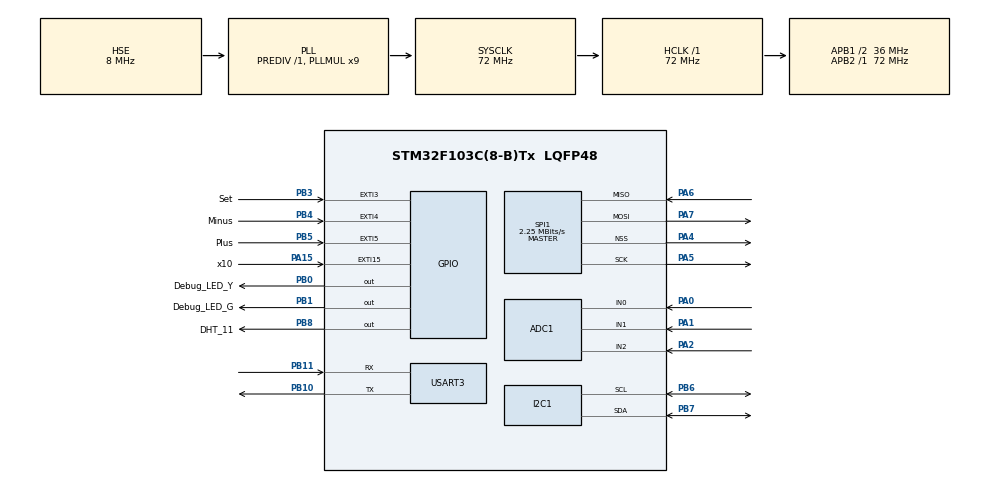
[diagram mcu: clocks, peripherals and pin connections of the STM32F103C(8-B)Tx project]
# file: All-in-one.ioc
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ADC1.Channel-0\#ChannelRegularConversion=ADC_CHANNEL_0
ADC1.ContinuousConvMode=ENABLE
ADC1.NbrOfConversionFlag=1
ADC1.Rank-0\#ChannelRegularConversion=1
ADC1.SamplingTime-0\#ChannelRegularConversion=ADC_SAMPLETIME_1CYCLE_5
ADC1.master=1
IWDG.Prescaler=IWDG_PRESCALER_128
IWDG.Reload=400
Mcu.Family=STM32F1
Mcu.Name=STM32F103C(8-B)Tx
Mcu.Package=LQFP48
NVIC.EXTI15_10_IRQn=true\:3\:0\:true\:false\:true\:true\:true
NVIC.EXTI3_IRQn=true\:3\:0\:true\:false\:true\:true\:true
NVIC.EXTI4_IRQn=true\:3\:0\:true\:false\:true\:true\:true
NVIC.EXTI9_5_IRQn=true\:3\:0\:true\:false\:true\:true\:true
NVIC.PriorityGroup=NVIC_PRIORITYGROUP_4
PA0-WKUP.Signal=ADCx_IN0
PA1.Signal=ADCx_IN1
PA13.Mode=Serial_Wire
PA13.Signal=SYS_JTMS-SWDIO
PA14.Mode=Serial_Wire
PA14.Signal=SYS_JTCK-SWCLK
PA15.GPIO_Label=x10
PA15.GPIO_ModeDefaultEXTI=GPIO_MODE_IT_RISING_FALLING
PA15.Signal=GPXTI15
PA2.Signal=ADCx_IN2
PA4.Mode=NSS_Signal_Hard_Output
PA4.Signal=SPI1_NSS
PA5.Mode=Full_Duplex_Master
PA5.Signal=SPI1_SCK
PA6.Mode=Full_Duplex_Master
PA6.Signal=SPI1_MISO
PA7.Mode=Full_Duplex_Master
PA7.Signal=SPI1_MOSI
PB0.GPIO_Label=Debug_LED_Y
PB0.Signal=GPIO_Output
PB1.GPIO_Label=Debug_LED_G
PB1.Signal=GPIO_Output
PB10.Mode=Asynchronous
PB10.Signal=USART3_TX
PB11.Mode=Asynchronous
PB11.Signal=USART3_RX
PB3.GPIO_Label=Set
PB3.GPIO_ModeDefaultEXTI=GPIO_MODE_IT_RISING
PB3.GPIO_PuPd=GPIO_PULLUP
PB3.Signal=GPXTI3
PB4.GPIO_Label=Minus
PB4.GPIO_ModeDefaultEXTI=GPIO_MODE_IT_RISING
PB4.GPIO_PuPd=GPIO_PULLUP
PB4.Signal=GPXTI4
PB5.GPIO_Label=Plus
PB5.GPIO_ModeDefaultEXTI=GPIO_MODE_IT_RISING
PB5.GPIO_PuPd=GPIO_PULLUP
PB5.Signal=GPXTI5
PB6.Mode=I2C
PB6.Signal=I2C1_SCL
PB7.Mode=I2C
PB7.Signal=I2C1_SDA
PB8.GPIO_Label=DHT_11
PB8.GPIO_Speed=GPIO_SPEED_FREQ_MEDIUM
PB8.Signal=GPIO_Output
PD0-OSC_IN.Mode=HSE-External-Oscillator
PD0-OSC_IN.Signal=RCC_OSC_IN
PD1-OSC_OUT.Mode=HSE-External-Oscillator
PD1-OSC_OUT.Signal=RCC_OSC_OUT
ProjectManager.HeapSize=0x200
ProjectManager.StackSize=0x400
ProjectManager.TargetToolchain=STM32CubeIDE
RCC.ADCPresc=RCC_ADCPCLK2_DIV6
RCC.AHBFreq_Value=72000000
RCC.APB1CLKDivider=RCC_HCLK_DIV2
RCC.APB1Freq_Value=36000000
RCC.APB1TimFreq_Value=72000000
RCC.APB2Freq_Value=72000000
RCC.APB2TimFreq_Value=72000000
RCC.EnbaleCSS=true
RCC.HCLKFreq_Value=72000000
RCC.PLLMUL=RCC_PLL_MUL9
RCC.PLLSourceVirtual=RCC_PLLSOURCE_HSE
RCC.SYSCLKFreq_VALUE=72000000
RCC.SYSCLKSource=RCC_SYSCLKSOURCE_PLLCLK
RCC.USBFreq_Value=72000000
SH.ADCx_IN0.0=ADC1_IN0,IN0
SH.ADCx_IN1.0=ADC1_IN1,IN1
SH.ADCx_IN2.0=ADC1_IN2,IN2
SPI1.BaudRatePrescaler=SPI_BAUDRATEPRESCALER_32
SPI1.CalculateBaudRate=2.25 MBits/s
SPI1.Direction=SPI_DIRECTION_2LINES
SPI1.Mode=SPI_MODE_MASTER
SPI1.VirtualNSS=VM_NSSHARD
SPI1.VirtualType=VM_MASTER
USART3.VirtualMode=VM_ASYNC
VP_FATFS_VS_Generic.Mode=User_defined
VP_IWDG_VS_IWDG.Mode=IWDG_Activate
board=custom

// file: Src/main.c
/* USER CODE BEGIN Header */
/**
  ******************************************************************************
  * @file           : main.c
  * @brief          : Main program body
  ******************************************************************************
  * @attention
  *
  * <h2><center>&copy; Copyright (c) 2021 STMicroelectronics.
  * All rights reserved.</center></h2>
  *
  * This software component is licensed by ST under Ultimate Liberty license
  * SLA0044, the "License"; You may not use this file except in compliance with
  * the License. You may obtain a copy of the License at:
  *                             www.st.com/SLA0044
  *
  ******************************************************************************
  */
/* USER CODE END Header */
#include "main.h"
#include "adc.h"
#include "fatfs.h"
#include "i2c.h"
#include "iwdg.h"
#include "spi.h"
#include "usart.h"
#include "gpio.h"

/* USER CODE BEGIN Includes */
#include "fatfs_sd.h"
#include "string.h"
#include "stdio.h"

#include "DHT.h"
#include "myRTC.h"
#include "i2c-lcd.h"
#include "bmp280.h"
#include "myFunctions.h"
/* USER CODE END Includes */

/* USER CODE BEGIN PV */
	DHT_type dht_type;
	DHT_data dht_data;

	FATFS fs;  // file system
	FIL fil; // File
	FRESULT fresult;  // result

	char days[7][4] = {"SUN\0", "MON\0", "TUE\0", "WED\0", "THU\0", "FRI\0", "SAT\0"}; // <-----
	char SD_data[10][88];

	char lcd_upper[16+1];
	char lcd_lower[16+1];
	char buffer[BUFFER_SIZE];  // to store strings..

	RTC_DS3231 myRTC= {0};

	BMP280_HandleTypedef bmp280;
	float pressure, temperature, humidity;
	uint16_t size;

	// > 4000 - разрыв, абсолютно сухая почва,
	// 3700 .. 3850 если взяться пальцами
	// 1400 .. 3000 при погружении в стакан с кипячёнкой
	// < 400 - короткое замыкание проводом по выводам
	uint16_t adc0_soil;

	uint16_t adc0_light1;
	uint16_t adc0_light2;

	App myApp = {0, 0, 0, 0, x10_RELEASED};
/* USER CODE END PV */

void SystemClock_Config(void);

/* USER CODE BEGIN 0 */

void HAL_GPIO_EXTI_Callback(uint16_t GPIO_Pin) {

	__disable_irq();

	// Фиксируем, что произошло действие от пользователя
	myApp.settings_counter = 0;

	switch(GPIO_Pin){
	case Plus_Pin:
		//size = sprintf(buffer, "+\n");
		update_RTC(&myRTC, 1, hi2c1);
		break;

	case Minus_Pin:
		update_RTC(&myRTC, -1, hi2c1);
		//size = sprintf(buffer, "-\n");
		break;

	// По каждому изменению происходит сохранение
	case Set_Pin:
		myApp.state++;
		//size = sprintf(buffer, "s, state = %d\n", state);
		break;

	case x10_Pin:
		if (HAL_GPIO_ReadPin(x10_GPIO_Port, x10_Pin) == GPIO_PIN_SET) {
			myApp.x10 = x10_PRESSED;
			size = sprintf(buffer, "x10 pressed\n");
		}else{
			myApp.x10 = x10_RELEASED;
			size = sprintf(buffer, "x10 released\n");
		}
		HAL_UART_Transmit(&huart3, (uint8_t*)buffer, strlen(buffer), 100);
		break;
	default:
		//size = sprintf(buffer, "!\n");
		break;
	}
	//HAL_UART_Transmit(&huart3, (uint8_t*)buffer, strlen(buffer), 100);
	//clear_buffer();
	__enable_irq();
	HAL_Delay(20);
}

uint16_t ADC_Result(ADC_HandleTypeDef *hadc, uint32_t ch){

       ADC_ChannelConfTypeDef sConfig;
       uint16_t adcResult = 0;

       sConfig.Channel = ch;
       sConfig.Rank = ADC_REGULAR_RANK_1;
       sConfig.SamplingTime = ADC_SAMPLETIME_13CYCLES_5;
       HAL_ADC_ConfigChannel(hadc, &sConfig);

       HAL_ADC_Start(hadc);
       HAL_ADC_PollForConversion(hadc, 100);
       adcResult = HAL_ADC_GetValue(hadc);
       HAL_ADC_Stop(hadc);

       return adcResult;
}
/* USER CODE END 0 */

int main(void)
{

  /* MCU Configuration--------------------------------------------------------*/

  /* Reset of all peripherals, Initializes the Flash interface and the Systick. */
  HAL_Init();

  /* Configure the system clock */
  SystemClock_Config();

  /* Initialize all configured peripherals */
  MX_GPIO_Init();
  MX_I2C1_Init();
  MX_USART3_UART_Init();
  MX_FATFS_Init();
  MX_ADC1_Init();
  MX_SPI1_Init();
  MX_IWDG_Init();
  /* USER CODE BEGIN 2 */

  	//set_RTC(hi2c1, &myRTC);

	bmp280_init_default_params(&bmp280.params);
	bmp280.addr = BMP280_I2C_ADDRESS_0;
	bmp280.i2c = &hi2c1;

	while (!bmp280_init(&bmp280, &bmp280.params)) {
		size = sprintf(buffer, "BMP280 initialization failed\n");
		HAL_UART_Transmit(&huart3, (uint8_t*)buffer, strlen(buffer), 1000);
		HAL_Delay(2000);
	}
	bool bme280p = bmp280.id == BME280_CHIP_ID;
	size = sprintf(buffer, "BMP280: found %s\n", bme280p ? "BME280" : "BMP280");
	HAL_UART_Transmit(&huart3, (uint8_t*)buffer, strlen(buffer), 1000);

	// *******************  �?нициализация карты памяти SD ******************************
	fresult = f_mount(&fs, "/", 1);
	if (fresult != FR_OK) {
		send_uart ("ERROR!!! in mounting SD CARD...\n\n");
	}
	else {
		send_uart("SD CARD mounted successfully...\n\n");
		/* Open file to write/ create a file if it doesn't exist */
	    fresult = f_open(&fil, "data.txt", FA_OPEN_ALWAYS | FA_READ | FA_WRITE);

		/* Move to offset to the end of the file */
		fresult = f_lseek(&fil, f_size(&fil));
		if (fresult == FR_OK)send_uart ("About to update the DATA.TXT\n");
	}

	lcd_init ();
	HAL_IWDG_Refresh(&hiwdg);
  /* USER CODE END 2 */

  /* Infinite loop */
  /* USER CODE BEGIN WHILE */
	while (1) {

		// **************************************************************************************
		// **************************  Нормальный цикл измерения  *******************************
		// **************************************************************************************
		if (myApp.state == 0) {

			HAL_GPIO_WritePin(Debug_LED_Y_GPIO_Port, Debug_LED_Y_Pin, GPIO_PIN_SET);

			// ************************ 1. RTC ***********************************************
			myRTC.RTC_RX_buffer[0] = 0;
			RTC_WriteBuffer(hi2c1, &myRTC, 1);

			while (HAL_I2C_GetState(&hi2c1) != HAL_I2C_STATE_READY) {}

			RTC_ReadBuffer(hi2c1, &myRTC, 7);

			myRTC.date = BCD_to_DEC(myRTC.RTC_RX_buffer[4]);
			myRTC.month = BCD_to_DEC(myRTC.RTC_RX_buffer[5]);
			myRTC.year = BCD_to_DEC(myRTC.RTC_RX_buffer[6]);
			myRTC.day = BCD_to_DEC(myRTC.RTC_RX_buffer[3]);
			myRTC.hour = BCD_to_DEC(myRTC.RTC_RX_buffer[2]);
			myRTC.min = BCD_to_DEC(myRTC.RTC_RX_buffer[1]);
			myRTC.sec = BCD_to_DEC(myRTC.RTC_RX_buffer[0]);

			// ********************** 2. BMP **************************************************
			bool bmp_status = bmp280_read_float(&bmp280, &temperature, &pressure, &humidity);

			if (!bmp_status){
				size = sprintf(buffer, "BMP280 reading failed\n");
				HAL_UART_Transmit(&huart3, (uint8_t*)buffer, strlen(buffer), 100);
			}

			// ********************** 3. DHT ****************************************************
			if (myApp.lcd_cycle_counter % 3 == 0){
				dht_data = DHT_getData(DHT11);
			}

			// ********************** 4. Опрос АЦП ********************************************
			adc0_soil   = ADC_Result(&hadc1, 0);
			adc0_light1 = ADC_Result(&hadc1, 1);
			adc0_light2 = ADC_Result(&hadc1, 2);

			// ********************** 5. Передача по UART ***************************************
			clear_buffer();
			// 87 символов в этой строке
			snprintf(buffer, 100, "%02u:%02u:%02u %s %02u/%02u/%02u T = %.2f*C H = %02d%% P = %.2f Pa S = %04d L1 = %04d L2 = %04d\n",
																myRTC.hour, myRTC.min, myRTC.sec,
																days[myRTC.day - 1],
																myRTC.date, myRTC.month, myRTC.year,
																temperature, (uint8_t)dht_data.hum, pressure,
																adc0_soil, adc0_light1, adc0_light2);
			HAL_UART_Transmit(&huart3, (uint8_t*)buffer, strlen(buffer), 1000);

			// *********************** 6. Вывод на LCD ******************************************
			// NB! S-N-PRINTF !!! not a S-PRINTF
			snprintf(lcd_upper, 17, "%02u:%02u %02u/%02u/%02u", myRTC.hour, myRTC.min, myRTC.date, myRTC.month, myRTC.year);

			if (myApp.lcd_cycle_counter < 3){
				snprintf(lcd_lower, 17, "%.1f*C  %.1f mm", temperature, pressure/133.3244);
				//lcd_lower[0] = 'A';
			} else {
				//snprintf(lcd_lower, 17, "%.1f*C  %d%%     ", temperature, (uint8_t)dht_data.hum);
				snprintf(lcd_lower, 17, "%.1f*C  %02d%%  %s", temperature, (uint8_t)dht_data.hum, days[myRTC.day - 1]);
			}

			//lcd_clear ();
			lcd_put_cur(0, 0);
			lcd_send_string(lcd_upper);
			lcd_put_cur(1, 0);
			lcd_send_string(lcd_lower);

			//snprintf(buffer, 100, "%02u\n", cycle_counter);
			//HAL_UART_Transmit(&huart3, (uint8_t*)buffer, strlen(buffer), 1000);

			// *********************** 7. Запись на SD-карту ***********************************
			if (myApp.sd_cycle_counter == 10) {

				for (uint8_t i = 0; i < 10; i++){
					fresult = f_puts(SD_data[i], &fil);
				}
				f_sync(&fil);

				// Clear SD_data buffer
				for (uint8_t i = 0; i < 10; i++){
					for (uint8_t j = 0; j < 88; j++){
						SD_data[i][j] = '\0';
					}
				}
				clear_buffer();

				myApp.sd_cycle_counter = 0;
			}
			else {

				memcpy(SD_data[myApp.sd_cycle_counter], buffer, strlen(buffer));
				myApp.sd_cycle_counter++;
			}

			myApp.lcd_cycle_counter++;

			if (myApp.lcd_cycle_counter >= 6) myApp.lcd_cycle_counter = 0;

			HAL_GPIO_WritePin(Debug_LED_Y_GPIO_Port, Debug_LED_Y_Pin, GPIO_PIN_RESET);
			HAL_Delay(975);
			HAL_IWDG_Refresh(&hiwdg);
		}

		// **************************************************************************************
		// **************************  Настройка часов  *****************************************
		// **************************************************************************************
		else if (myApp.state > 0 && myApp.state < 9) {

			lcd_clear();
			for (uint8_t i = 0; i < 17; i++){
				lcd_upper[i] = '\0';
				lcd_lower[i] = '\0';
			}

			while(myApp.state > 0 && myApp.state < 9)
			{
				// Считываем значение из часов
				myRTC.RTC_RX_buffer[0] = 0;
				RTC_WriteBuffer(hi2c1, &myRTC, 1);

				while (HAL_I2C_GetState(&hi2c1) != HAL_I2C_STATE_READY) {}

				RTC_ReadBuffer(hi2c1, &myRTC, 7);

				myRTC.date = BCD_to_DEC(myRTC.RTC_RX_buffer[4]);
				myRTC.month = BCD_to_DEC(myRTC.RTC_RX_buffer[5]);
				myRTC.year = BCD_to_DEC(myRTC.RTC_RX_buffer[6]);
				myRTC.day = BCD_to_DEC(myRTC.RTC_RX_buffer[3]);
				myRTC.hour = BCD_to_DEC(myRTC.RTC_RX_buffer[2]);
				myRTC.min = BCD_to_DEC(myRTC.RTC_RX_buffer[1]);
				myRTC.sec = BCD_to_DEC(myRTC.RTC_RX_buffer[0]);

				snprintf(lcd_upper, 17, "%02u:%02u:%02u", myRTC.hour, myRTC.min, myRTC.sec);
				snprintf(lcd_lower, 17, "%02u/%02u/%02u %s", myRTC.date, myRTC.month, myRTC.year, days[myRTC.day - 1]);

				//lcd_clear();
				lcd_put_cur(0, 0);
				lcd_send_string(lcd_upper);
				lcd_put_cur(1, 0);
				lcd_send_string(lcd_lower);
				HAL_Delay(500);

				switch(myApp.state){

				// часы
				case 1:
					snprintf(lcd_upper, 17, "  :%02u:%02u", /* myRTC.hour,*/ myRTC.min, myRTC.sec);
					break;
				// минуты
				case 2:
					snprintf(lcd_upper, 17, "%02u:  :%02u", myRTC.hour, /* myRTC.min,*/ myRTC.sec);
					break;
				// секунды
				case 3:
					snprintf(lcd_upper, 17, "%02u:%02u:  ", myRTC.hour, myRTC.min /* myRTC.sec,*/);
					break;
				// число
				case 4:
					snprintf(lcd_lower, 17, "  /%02u/%02u %s", /*myRTC.date*/ myRTC.month, myRTC.year, days[myRTC.day - 1]);
					break;
				// месяц
				case 5:
					snprintf(lcd_lower, 17, "%02u/  /%02u %s", myRTC.date, /*myRTC.month,*/ myRTC.year, days[myRTC.day - 1]);
					break;
				// год
				case 6:
					snprintf(lcd_lower, 17, "%02u/%02u/   %s", myRTC.date, myRTC.month /*myRTC.year*/, days[myRTC.day - 1]);
					break;
				// день недели
				case 7:
					snprintf(lcd_lower, 17, "%02u/%02u/%02u    ", myRTC.date, myRTC.month, myRTC.year /*days[myRTC.day]*/);
					break;
				// сохранено!
				case 8:
					snprintf(buffer, 100, "Set time to %02u:%02u:%02u %s %02u/%02u/%02u", myRTC.hour, myRTC.min, myRTC.sec, days[myRTC.day-1], myRTC.date, myRTC.month, myRTC.year);
					HAL_UART_Transmit(&huart3, (uint8_t*)buffer, strlen(buffer), 100);

					lcd_clear();
					lcd_put_cur(1, 0);
					snprintf(lcd_lower, 17, "Saved");
					myApp.state = 0;
					myApp.settings_counter = 0;
					break;
				}

				lcd_put_cur(0, 0);
				lcd_send_string(lcd_upper);
				lcd_put_cur(1, 0);
				lcd_send_string(lcd_lower);

				HAL_Delay(500);
				HAL_IWDG_Refresh(&hiwdg);

				// Выходим из настройки, если пользователь ничего не сделал в течение 30 секунд
				myApp.settings_counter++;
				if (myApp.settings_counter == MAX_SETTINGS_COUNTER){
					//break;
					myApp.state = 8;
				}
			} // end while(myApp.state > 0 && myApp.state < 9)
			clear_buffer();
		}
		else {
			size = sprintf(buffer, "Unknown execution state\n");
			HAL_UART_Transmit(&huart3, (uint8_t*)buffer, strlen(buffer), 100);
			myApp.state = 0;
			clear_buffer();
		}

    /* USER CODE END WHILE */

  }
}

void SystemClock_Config(void)
{
  RCC_OscInitTypeDef RCC_OscInitStruct = {0};
  RCC_ClkInitTypeDef RCC_ClkInitStruct = {0};
  RCC_PeriphCLKInitTypeDef PeriphClkInit = {0};

  /** Initializes the RCC Oscillators according to the specified parameters
  * in the RCC_OscInitTypeDef structure.
  */
  RCC_OscInitStruct.OscillatorType = RCC_OSCILLATORTYPE_LSI|RCC_OSCILLATORTYPE_HSE;
  RCC_OscInitStruct.HSEState = RCC_HSE_ON;
  RCC_OscInitStruct.HSEPredivValue = RCC_HSE_PREDIV_DIV1;
  RCC_OscInitStruct.HSIState = RCC_HSI_ON;
  RCC_OscInitStruct.LSIState = RCC_LSI_ON;
  RCC_OscInitStruct.PLL.PLLState = RCC_PLL_ON;
  RCC_OscInitStruct.PLL.PLLSource = RCC_PLLSOURCE_HSE;
  RCC_OscInitStruct.PLL.PLLMUL = RCC_PLL_MUL9;
  if (HAL_RCC_OscConfig(&RCC_OscInitStruct) != HAL_OK)
  {
    Error_Handler();
  }
  /** Initializes the CPU, AHB and APB buses clocks
  */
  RCC_ClkInitStruct.ClockType = RCC_CLOCKTYPE_HCLK|RCC_CLOCKTYPE_SYSCLK
                              |RCC_CLOCKTYPE_PCLK1|RCC_CLOCKTYPE_PCLK2;
  RCC_ClkInitStruct.SYSCLKSource = RCC_SYSCLKSOURCE_PLLCLK;
  RCC_ClkInitStruct.AHBCLKDivider = RCC_SYSCLK_DIV1;
  RCC_ClkInitStruct.APB1CLKDivider = RCC_HCLK_DIV2;
  RCC_ClkInitStruct.APB2CLKDivider = RCC_HCLK_DIV1;

  if (HAL_RCC_ClockConfig(&RCC_ClkInitStruct, FLASH_LATENCY_2) != HAL_OK)
  {
    Error_Handler();
  }
  PeriphClkInit.PeriphClockSelection = RCC_PERIPHCLK_ADC;
  PeriphClkInit.AdcClockSelection = RCC_ADCPCLK2_DIV6;
  if (HAL_RCCEx_PeriphCLKConfig(&PeriphClkInit) != HAL_OK)
  {
    Error_Handler();
  }
  /** Enables the Clock Security System
  */
  HAL_RCC_EnableCSS();
}

void Error_Handler(void)
{
  /* USER CODE BEGIN Error_Handler_Debug */
  /* User can add his own implementation to report the HAL error return state */
	snprintf(buffer, 100, "SError Handler\n");
	HAL_UART_Transmit(&huart3, (uint8_t*)buffer, strlen(buffer), 100);
	clear_buffer();
  /* USER CODE END Error_Handler_Debug */
}

/************************ (C) COPYRIGHT STMicroelectronics *****END OF FILE****/
